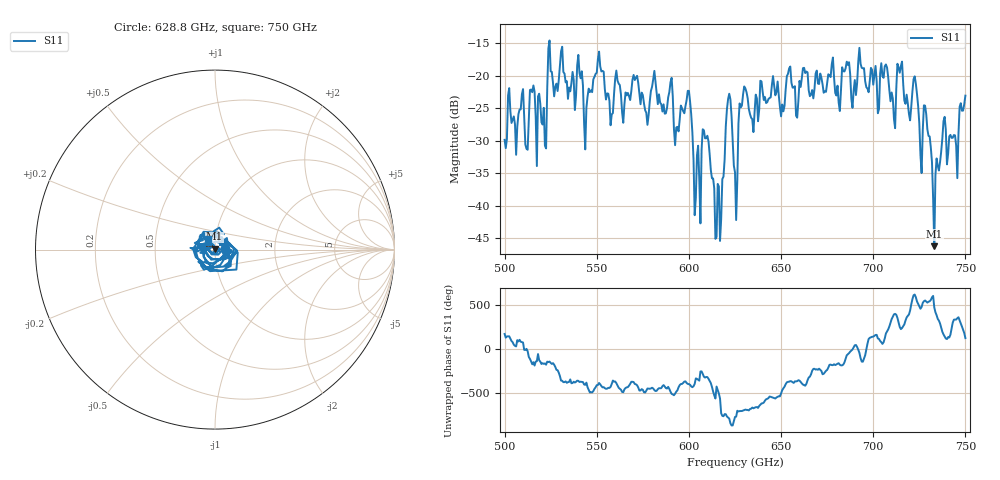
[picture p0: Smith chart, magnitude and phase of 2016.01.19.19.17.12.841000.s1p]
!Created with skrf (http://scikit-rf.org).
# GHz S RI R 50.0
!freq ReS11 ImS11
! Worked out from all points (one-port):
!   401 points, 500 GHz to 750 GHz, reference 50 ohm
!   lowest |S11| = -46.2 dB at 733.1 GHz (marker M1), VSWR 1.01, Z = 49.8 + j0.434 ohm
!   |S11| at or under -10 dB: start of sweep to end of sweep
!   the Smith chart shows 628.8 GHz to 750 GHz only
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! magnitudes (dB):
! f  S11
! 500 GHz  -29.9
! 508.8 GHz  -25.2
! 511.9 GHz  -31.2
! 515 GHz  -22.6
! 521.2 GHz  -25.0
! 524.4 GHz  -14.6
! 531.2 GHz  -15.6
! 544.4 GHz  -25.0
! 550.6 GHz  -17.5
! 562.5 GHz  -21.5
! 590 GHz  -21.0
! 593.8 GHz  -27.9
! 600 GHz  -22.3
! 605 GHz  -30.8
! 609.4 GHz  -29.6
! 615.6 GHz  -36.6
! 621.9 GHz  -22.8
! 625 GHz  -34.8
! 630 GHz  -21.7
! 656.2 GHz  -21.8
! 687.5 GHz  -19.8
! 706.9 GHz  -18.3
! 710.6 GHz  -23.5
! 714.4 GHz  -19.6
! 718.8 GHz  -24.3
! 728.8 GHz  -25.9
! 733.1 GHz  -46.2
! 750 GHz  -23.1
